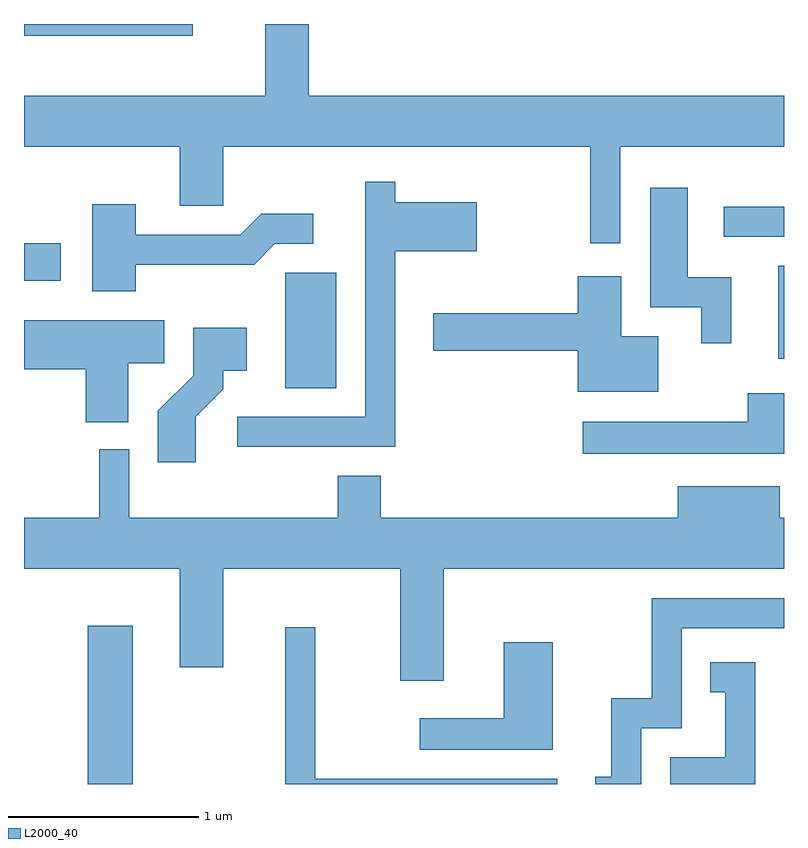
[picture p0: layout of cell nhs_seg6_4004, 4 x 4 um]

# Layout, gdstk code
import gdstk
lib = gdstk.Library(unit=1e-6, precision=1e-09)
def R(c, l, rs):  # rectangles x0, y0, x1, y1
    for r in rs: c.add(gdstk.rectangle(r[:2], r[2:], *l))
def P(c, l, *ps):  # polygons
    for p in ps: c.add(gdstk.Polygon(p, *l))
L2000_40 = (2000, 40)

nhs_seg6_4004 = lib.new_cell('nhs_seg6_4004')
R(nhs_seg6_4004, L2000_40, [(305.946,1622.162,306.184,1622.994), (306.986,1624.246,307.254,1624.854), (309.581,1624.401,309.611,1624.889), (305.611,1624.811,305.804,1625.009), (309.293,1625.041,309.611,1625.199), (305.611,1626.101,306.499,1626.162)])
P(nhs_seg6_4004, L2000_40, [(308.749,1625.516),(309.611,1625.516),(309.611,1625.784),(307.109,1625.784),(307.109,1626.162),(306.881,1626.162),(306.881,1625.784),(305.611,1625.784),(305.611,1625.516),(306.431,1625.516),(306.431,1625.206),(306.659,1625.206),(306.659,1625.516),(308.591,1625.516),(308.591,1625.008),(308.749,1625.008)],
  [(307.564,1624.966),(307.994,1624.966),(307.994,1625.224),(307.564,1625.224),(307.564,1625.333),(307.406,1625.333),(307.406,1624.094),(306.733,1624.094),(306.733,1623.936),(307.564,1623.936)],
  [(309.334,1624.829),(309.104,1624.829),(309.104,1625.299),(308.906,1625.299),(308.906,1624.671),(309.176,1624.671),(309.176,1624.483),(309.334,1624.483)],
  [(306.199,1624.896),(306.822,1624.896),(306.932,1625.006),(307.133,1625.006),(307.133,1625.164),(306.859,1625.164),(306.749,1625.054),(306.199,1625.054),(306.199,1625.214),(305.971,1625.214),(305.971,1624.756),(306.199,1624.756)],
  [(308.949,1624.519),(308.754,1624.519),(308.754,1624.834),(308.526,1624.834),(308.526,1624.639),(307.766,1624.639),(307.766,1624.441),(308.526,1624.441),(308.526,1624.226),(308.949,1624.226)],
  [(306.159,1624.376),(306.349,1624.376),(306.349,1624.604),(305.611,1624.604),(305.611,1624.346),(305.936,1624.346),(305.936,1624.066),(306.159,1624.066)],
  [(306.514,1624.094),(306.659,1624.239),(306.659,1624.336),(306.784,1624.336),(306.784,1624.564),(306.501,1624.564),(306.501,1624.312),(306.316,1624.127),(306.316,1623.856),(306.514,1623.856)],
  [(309.611,1624.219),(309.421,1624.219),(309.421,1624.069),(308.553,1624.069),(308.553,1623.901),(309.611,1623.901)],
  [(307.819,1623.296),(309.611,1623.296),(309.611,1623.564),(309.589,1623.564),(309.589,1623.729),(309.051,1623.729),(309.051,1623.564),(307.489,1623.564),(307.489,1623.784),(307.261,1623.784),(307.261,1623.564),(306.164,1623.564),(306.164,1623.923),(306.006,1623.923),(306.006,1623.564),(305.611,1623.564),(305.611,1623.296),(306.431,1623.296),(306.431,1622.776),(306.659,1622.776),(306.659,1623.296),(307.591,1623.296),(307.591,1622.706),(307.819,1622.706)],
  [(308.859,1622.456),(309.074,1622.456),(309.074,1622.981),(309.611,1622.981),(309.611,1623.139),(308.916,1623.139),(308.916,1622.614),(308.701,1622.614),(308.701,1622.199),(308.618,1622.199),(308.618,1622.162),(308.859,1622.162)],
  [(308.418,1622.189),(307.144,1622.189),(307.144,1622.988),(306.986,1622.988),(306.986,1622.162),(308.418,1622.162)],
  [(308.394,1622.909),(308.136,1622.909),(308.136,1622.509),(307.693,1622.509),(307.693,1622.341),(308.394,1622.341)],
  [(309.459,1622.804),(309.223,1622.804),(309.223,1622.646),(309.301,1622.646),(309.301,1622.304),(309.011,1622.304),(309.011,1622.162),(309.459,1622.162)])

lib.write_gds('nhs_seg6_4004.gds')
